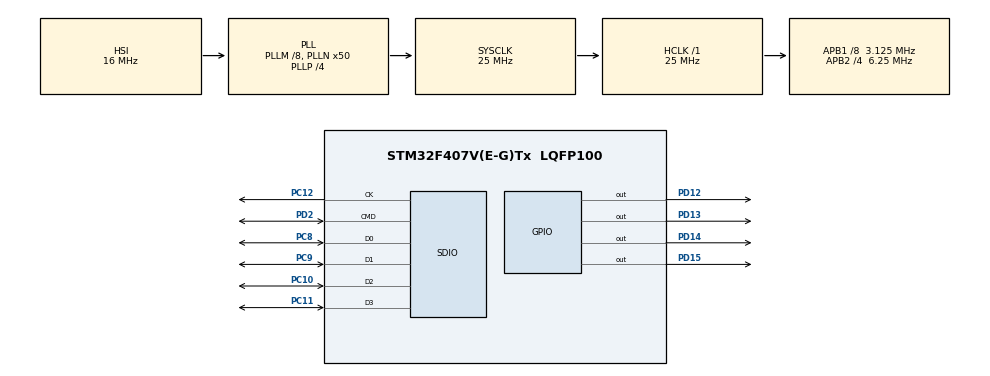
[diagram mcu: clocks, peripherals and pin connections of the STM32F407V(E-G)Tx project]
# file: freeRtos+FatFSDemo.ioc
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Dma.Request0=SDIO_TX
Dma.Request1=SDIO_RX
Dma.SDIO_RX.1.Direction=DMA_PERIPH_TO_MEMORY
Dma.SDIO_RX.1.FIFOMode=DMA_FIFOMODE_ENABLE
Dma.SDIO_RX.1.FIFOThreshold=DMA_FIFO_THRESHOLD_FULL
Dma.SDIO_RX.1.Instance=DMA2_Stream6
Dma.SDIO_RX.1.MemBurst=DMA_MBURST_INC4
Dma.SDIO_RX.1.MemDataAlignment=DMA_MDATAALIGN_WORD
Dma.SDIO_RX.1.MemInc=DMA_MINC_ENABLE
Dma.SDIO_RX.1.Mode=DMA_PFCTRL
Dma.SDIO_RX.1.PeriphBurst=DMA_PBURST_INC4
Dma.SDIO_RX.1.PeriphDataAlignment=DMA_PDATAALIGN_WORD
Dma.SDIO_RX.1.PeriphInc=DMA_PINC_DISABLE
Dma.SDIO_RX.1.Priority=DMA_PRIORITY_LOW
Dma.SDIO_TX.0.Direction=DMA_MEMORY_TO_PERIPH
Dma.SDIO_TX.0.FIFOMode=DMA_FIFOMODE_ENABLE
Dma.SDIO_TX.0.FIFOThreshold=DMA_FIFO_THRESHOLD_FULL
Dma.SDIO_TX.0.Instance=DMA2_Stream3
Dma.SDIO_TX.0.MemBurst=DMA_MBURST_INC4
Dma.SDIO_TX.0.MemDataAlignment=DMA_MDATAALIGN_WORD
Dma.SDIO_TX.0.MemInc=DMA_MINC_ENABLE
Dma.SDIO_TX.0.Mode=DMA_PFCTRL
Dma.SDIO_TX.0.PeriphBurst=DMA_PBURST_INC4
Dma.SDIO_TX.0.PeriphDataAlignment=DMA_PDATAALIGN_WORD
Dma.SDIO_TX.0.PeriphInc=DMA_PINC_DISABLE
Dma.SDIO_TX.0.Priority=DMA_PRIORITY_LOW
FATFS._MAX_SS=4096
FREERTOS.Mutexes01=myMutex01,Dynamic,NULL
FREERTOS.Tasks01=firstTask,0,128,taskT1,Default,NULL,Dynamic,NULL,NULL;myTask02,-3,128,taskT2,Default,NULL,Dynamic,NULL,NULL
Mcu.Family=STM32F4
Mcu.Name=STM32F407V(E-G)Tx
Mcu.Package=LQFP100
NVIC.DMA2_Stream3_IRQn=true\:5\:0\:false\:false\:true\:true\:false
NVIC.DMA2_Stream6_IRQn=true\:5\:0\:false\:false\:true\:true\:false
NVIC.PriorityGroup=NVIC_PRIORITYGROUP_4
NVIC.SDIO_IRQn=true\:5\:0\:false\:false\:true\:true\:true
NVIC.TIM3_IRQn=true\:0\:0\:false\:false\:true\:false\:false
NVIC.TimeBase=TIM3_IRQn
NVIC.TimeBaseIP=TIM3
PC10.Mode=SD_4_bits_Wide_bus
PC10.Signal=SDIO_D2
PC11.Mode=SD_4_bits_Wide_bus
PC11.Signal=SDIO_D3
PC12.Mode=SD_4_bits_Wide_bus
PC12.Signal=SDIO_CK
PC8.Mode=SD_4_bits_Wide_bus
PC8.Signal=SDIO_D0
PC9.Mode=SD_4_bits_Wide_bus
PC9.Signal=SDIO_D1
PD12.Signal=GPIO_Output
PD13.Signal=GPIO_Output
PD14.Signal=GPIO_Output
PD15.Signal=GPIO_Output
PD2.Mode=SD_4_bits_Wide_bus
PD2.Signal=SDIO_CMD
ProjectManager.HeapSize=0x2000
ProjectManager.StackSize=0x4000
ProjectManager.TargetToolchain=EWARM V7
RCC.48MHZClocksFreq_Value=14285714.285714285
RCC.AHBFreq_Value=25000000
RCC.APB1CLKDivider=RCC_HCLK_DIV8
RCC.APB1Freq_Value=3125000
RCC.APB1TimFreq_Value=6250000
RCC.APB2CLKDivider=RCC_HCLK_DIV4
RCC.APB2Freq_Value=6250000
RCC.APB2TimFreq_Value=12500000
RCC.CortexFreq_Value=25000000
RCC.HCLKFreq_Value=25000000
RCC.HSE_VALUE=8000000
RCC.HSI_VALUE=16000000
RCC.LSE_VALUE=32768
RCC.PLLM=8
RCC.PLLN=50
RCC.PLLP=RCC_PLLP_DIV4
RCC.PLLQ=7
RCC.SYSCLKFreq_VALUE=25000000
RCC.SYSCLKSource=RCC_SYSCLKSOURCE_PLLCLK
RCC.VCOOutputFreq_Value=100000000
SDIO.ClockDiv=3
VP_FATFS_VS_SDIO.Mode=SDIO
VP_FREERTOS_VS_ENABLE.Mode=Enabled
VP_SYS_VS_tim3.Mode=TIM3
board=STM32F4DISCOVERY

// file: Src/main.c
/* USER CODE BEGIN Header */
/**
  ******************************************************************************
  * @file           : main.c
  * @brief          : Main program body
  ******************************************************************************
  * This notice applies to any and all portions of this file
  * that are not between comment pairs USER CODE BEGIN and
  * USER CODE END. Other portions of this file, whether
  * inserted by the user or by software development tools
  * are owned by their respective copyright owners.
  *
  * Copyright (c) 2019 STMicroelectronics International N.V.
  * All rights reserved.
  *
  * Redistribution and use in source and binary forms, with or without
  * modification, are permitted, provided that the following conditions are met:
  *
  * 1. Redistribution of source code must retain the above copyright notice,
  *    this list of conditions and the following disclaimer.
  * 2. Redistributions in binary form must reproduce the above copyright notice,
  *    this list of conditions and the following disclaimer in the documentation
  *    and/or other materials provided with the distribution.
  * 3. Neither the name of STMicroelectronics nor the names of other
  *    contributors to this software may be used to endorse or promote products
  *    derived from this software without specific written permission.
  * 4. This software, including modifications and/or derivative works of this
  *    software, must execute solely and exclusively on microcontroller or
  *    microprocessor devices manufactured by or for STMicroelectronics.
  * 5. Redistribution and use of this software other than as permitted under
  *    this license is void and will automatically terminate your rights under
  *    this license.
  *
  * THIS SOFTWARE IS PROVIDED BY STMICROELECTRONICS AND CONTRIBUTORS "AS IS"
  * AND ANY EXPRESS, IMPLIED OR STATUTORY WARRANTIES, INCLUDING, BUT NOT
  * LIMITED TO, THE IMPLIED WARRANTIES OF MERCHANTABILITY, FITNESS FOR A
  * PARTICULAR PURPOSE AND NON-INFRINGEMENT OF THIRD PARTY INTELLECTUAL PROPERTY
  * RIGHTS ARE DISCLAIMED TO THE FULLEST EXTENT PERMITTED BY LAW. IN NO EVENT
  * SHALL STMICROELECTRONICS OR CONTRIBUTORS BE LIABLE FOR ANY DIRECT, INDIRECT,
  * INCIDENTAL, SPECIAL, EXEMPLARY, OR CONSEQUENTIAL DAMAGES (INCLUDING, BUT NOT
  * LIMITED TO, PROCUREMENT OF SUBSTITUTE GOODS OR SERVICES; LOSS OF USE, DATA,
  * OR PROFITS; OR BUSINESS INTERRUPTION) HOWEVER CAUSED AND ON ANY THEORY OF
  * LIABILITY, WHETHER IN CONTRACT, STRICT LIABILITY, OR TORT (INCLUDING
  * NEGLIGENCE OR OTHERWISE) ARISING IN ANY WAY OUT OF THE USE OF THIS SOFTWARE,
  * EVEN IF ADVISED OF THE POSSIBILITY OF SUCH DAMAGE.
  *
  ******************************************************************************
  */
/* USER CODE END Header */

#include "main.h"
#include "cmsis_os.h"
#include "fatfs.h"

SD_HandleTypeDef hsd;
DMA_HandleTypeDef hdma_sdio_tx;
DMA_HandleTypeDef hdma_sdio_rx;

osThreadId firstTaskHandle;
osThreadId myTask02Handle;
osMutexId myMutex01Handle;

void SystemClock_Config(void);
static void MX_GPIO_Init(void);
static void MX_DMA_Init(void);
static void MX_SDIO_SD_Init(void);
void taskT1(void const * argument);
void taskT2(void const * argument);

/* USER CODE BEGIN 0 */
uint8_t fileOnce = 0;
	FATFS myfile;
        uint8_t feror = 0;
uint8_t fName[] = "testfile.txt\0";
FIL file;
	uint8_t string[20];
  uint8_t alaram[50] = "hello this is FREERTOS and FATFS Demo";
	FRESULT fR;
	UINT bytesCnt= 0;
/* USER CODE END 0 */

int main(void)
{

  /* MCU Configuration--------------------------------------------------------*/

  /* Reset of all peripherals, Initializes the Flash interface and the Systick. */
  HAL_Init();

  /* Configure the system clock */
  SystemClock_Config();

  /* Initialize all configured peripherals */
  MX_GPIO_Init();
  MX_DMA_Init();
  MX_SDIO_SD_Init();

  /* Create the mutex(es) */
  /* definition and creation of myMutex01 */
  osMutexDef(myMutex01);
  myMutex01Handle = osMutexCreate(osMutex(myMutex01));

  /* Create the thread(s) */
  /* definition and creation of firstTask */
  osThreadDef(firstTask, taskT1, osPriorityNormal, 0, 128);
  firstTaskHandle = osThreadCreate(osThread(firstTask), NULL);

  /* definition and creation of myTask02 */
  osThreadDef(myTask02, taskT2, osPriorityIdle, 0, 128);
  myTask02Handle = osThreadCreate(osThread(myTask02), NULL);

  /* Start scheduler */
  osKernelStart();

  /* We should never get here as control is now taken by the scheduler */

  /* Infinite loop */
  while (1)
  {

  }
}

void SystemClock_Config(void)
{
  RCC_OscInitTypeDef RCC_OscInitStruct = {0};
  RCC_ClkInitTypeDef RCC_ClkInitStruct = {0};

  /**Configure the main internal regulator output voltage
  */
  __HAL_RCC_PWR_CLK_ENABLE();
  __HAL_PWR_VOLTAGESCALING_CONFIG(PWR_REGULATOR_VOLTAGE_SCALE1);
  /**Initializes the CPU, AHB and APB busses clocks
  */
  RCC_OscInitStruct.OscillatorType = RCC_OSCILLATORTYPE_HSI;
  RCC_OscInitStruct.HSIState = RCC_HSI_ON;
  RCC_OscInitStruct.HSICalibrationValue = RCC_HSICALIBRATION_DEFAULT;
  RCC_OscInitStruct.PLL.PLLState = RCC_PLL_ON;
  RCC_OscInitStruct.PLL.PLLSource = RCC_PLLSOURCE_HSI;
  RCC_OscInitStruct.PLL.PLLM = 8;
  RCC_OscInitStruct.PLL.PLLN = 50;
  RCC_OscInitStruct.PLL.PLLP = RCC_PLLP_DIV4;
  RCC_OscInitStruct.PLL.PLLQ = 7;
  if (HAL_RCC_OscConfig(&RCC_OscInitStruct) != HAL_OK)
  {
    Error_Handler();
  }
  /**Initializes the CPU, AHB and APB busses clocks
  */
  RCC_ClkInitStruct.ClockType = RCC_CLOCKTYPE_HCLK|RCC_CLOCKTYPE_SYSCLK
                              |RCC_CLOCKTYPE_PCLK1|RCC_CLOCKTYPE_PCLK2;
  RCC_ClkInitStruct.SYSCLKSource = RCC_SYSCLKSOURCE_PLLCLK;
  RCC_ClkInitStruct.AHBCLKDivider = RCC_SYSCLK_DIV1;
  RCC_ClkInitStruct.APB1CLKDivider = RCC_HCLK_DIV8;
  RCC_ClkInitStruct.APB2CLKDivider = RCC_HCLK_DIV4;

  if (HAL_RCC_ClockConfig(&RCC_ClkInitStruct, FLASH_LATENCY_0) != HAL_OK)
  {
    Error_Handler();
  }
}

static void MX_SDIO_SD_Init(void)
{

  hsd.Instance = SDIO;
  hsd.Init.ClockEdge = SDIO_CLOCK_EDGE_RISING;
  hsd.Init.ClockBypass = SDIO_CLOCK_BYPASS_DISABLE;
  hsd.Init.ClockPowerSave = SDIO_CLOCK_POWER_SAVE_DISABLE;
  hsd.Init.BusWide = SDIO_BUS_WIDE_1B;
  hsd.Init.HardwareFlowControl = SDIO_HARDWARE_FLOW_CONTROL_DISABLE;
  hsd.Init.ClockDiv = 3;

}

static void MX_DMA_Init(void)
{
  /* DMA controller clock enable */
  __HAL_RCC_DMA2_CLK_ENABLE();

  /* DMA interrupt init */
  /* DMA2_Stream3_IRQn interrupt configuration */
  HAL_NVIC_SetPriority(DMA2_Stream3_IRQn, 5, 0);
  HAL_NVIC_EnableIRQ(DMA2_Stream3_IRQn);
  /* DMA2_Stream6_IRQn interrupt configuration */
  HAL_NVIC_SetPriority(DMA2_Stream6_IRQn, 5, 0);
  HAL_NVIC_EnableIRQ(DMA2_Stream6_IRQn);

}

static void MX_GPIO_Init(void)
{
  GPIO_InitTypeDef GPIO_InitStruct = {0};

  /* GPIO Ports Clock Enable */
  __HAL_RCC_GPIOD_CLK_ENABLE();
  __HAL_RCC_GPIOC_CLK_ENABLE();

  /*Configure GPIO pin Output Level */
  HAL_GPIO_WritePin(GPIOD, GPIO_PIN_12|GPIO_PIN_13|GPIO_PIN_14|GPIO_PIN_15, GPIO_PIN_RESET);

  /*Configure GPIO pins : PD12 PD13 PD14 PD15 */
  GPIO_InitStruct.Pin = GPIO_PIN_12|GPIO_PIN_13|GPIO_PIN_14|GPIO_PIN_15;
  GPIO_InitStruct.Mode = GPIO_MODE_OUTPUT_PP;
  GPIO_InitStruct.Pull = GPIO_NOPULL;
  GPIO_InitStruct.Speed = GPIO_SPEED_FREQ_LOW;
  HAL_GPIO_Init(GPIOD, &GPIO_InitStruct);

}

void taskT1(void const * argument)
{
  /* init code for FATFS */
  MX_FATFS_Init();

  /* USER CODE BEGIN 5 */
  /* Infinite loop */
  for(;;)
  {
		HAL_GPIO_TogglePin(GPIOD,GPIO_PIN_12);
    osDelay(1000);
  }
  /* USER CODE END 5 */
}

void taskT2(void const * argument)
{
  /* USER CODE BEGIN taskT2 */
  /* Infinite loop */
  for(;;)
  {
		HAL_GPIO_TogglePin(GPIOD,GPIO_PIN_14);

		  if(fileOnce == 0){
			//	xSemaphoreTake(myMutex01Handle,100);
				fR= f_mount(&myfile,SDPath,1);
			if(fR == FR_OK)
			{
				//HAL_GPIO_TogglePin(GPIOD,GPIO_PIN_12);
				if(f_open(&file,(char *)fName, FA_WRITE|FA_CREATE_ALWAYS)== FR_OK)
					{
						fR = f_write(&file,alaram,sizeof(alaram),&bytesCnt);
						f_close(&file);
						HAL_GPIO_WritePin(GPIOD,GPIO_PIN_13,GPIO_PIN_SET);

					}/*else if(f_open(&file,(char *)fName, FA_WRITE | FA_CREATE_ALWAYS)== FR_OK)
					{
						UINT bytesCnt= 0;
						f_write(&file,alaram,sizeof(alaram),&bytesCnt);
						f_close(&file);
					}*/
			}else{
				HAL_GPIO_WritePin(GPIOD,GPIO_PIN_15,GPIO_PIN_SET);
			}
			fileOnce = 1;
			//xSemaphoreGive(myMutex01Handle);
		}

    osDelay(500);
  }
  /* USER CODE END taskT2 */
}

void HAL_TIM_PeriodElapsedCallback(TIM_HandleTypeDef *htim)
{
  if (htim->Instance == TIM3) {
    HAL_IncTick();
  }
}

void Error_Handler(void)
{
}

/************************ (C) COPYRIGHT STMicroelectronics *****END OF FILE****/
